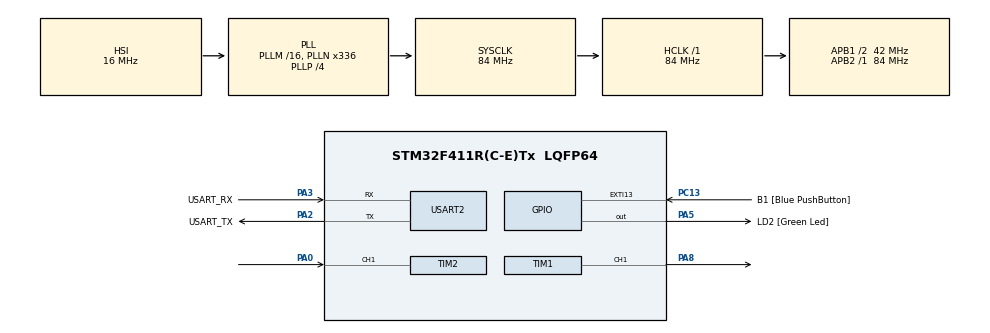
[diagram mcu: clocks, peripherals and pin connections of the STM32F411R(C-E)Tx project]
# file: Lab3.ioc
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Dma.Request0=TIM2_CH1
Dma.TIM2_CH1.0.Direction=DMA_PERIPH_TO_MEMORY
Dma.TIM2_CH1.0.FIFOMode=DMA_FIFOMODE_DISABLE
Dma.TIM2_CH1.0.Instance=DMA1_Stream5
Dma.TIM2_CH1.0.MemDataAlignment=DMA_MDATAALIGN_WORD
Dma.TIM2_CH1.0.MemInc=DMA_MINC_ENABLE
Dma.TIM2_CH1.0.Mode=DMA_CIRCULAR
Dma.TIM2_CH1.0.PeriphDataAlignment=DMA_PDATAALIGN_WORD
Dma.TIM2_CH1.0.PeriphInc=DMA_PINC_DISABLE
Dma.TIM2_CH1.0.Priority=DMA_PRIORITY_LOW
Mcu.Family=STM32F4
Mcu.Name=STM32F411R(C-E)Tx
Mcu.Package=LQFP64
NVIC.DMA1_Stream5_IRQn=true\:0\:0\:false\:false\:true\:false\:true\:true
NVIC.PriorityGroup=NVIC_PRIORITYGROUP_0
PA0-WKUP.Signal=S_TIM2_CH1_ETR
PA13.GPIO_Label=TMS
PA13.Mode=Serial_Wire
PA13.Signal=SYS_JTMS-SWDIO
PA14.GPIO_Label=TCK
PA14.Mode=Serial_Wire
PA14.Signal=SYS_JTCK-SWCLK
PA2.GPIO_Label=USART_TX
PA2.Mode=Asynchronous
PA2.Signal=USART2_TX
PA3.GPIO_Label=USART_RX
PA3.Mode=Asynchronous
PA3.Signal=USART2_RX
PA5.GPIO_Label=LD2 [Green Led]
PA5.Signal=GPIO_Output
PA8.Signal=S_TIM1_CH1
PB3.GPIO_Label=SWO
PB3.Signal=SYS_JTDO-SWO
PC13-ANTI_TAMP.GPIO_Label=B1 [Blue PushButton]
PC13-ANTI_TAMP.GPIO_ModeDefaultEXTI=GPIO_MODE_IT_FALLING
PC13-ANTI_TAMP.Signal=GPXTI13
PC14-OSC32_IN.Mode=LSE-External-Oscillator
PC14-OSC32_IN.Signal=RCC_OSC32_IN
PC15-OSC32_OUT.Mode=LSE-External-Oscillator
PC15-OSC32_OUT.Signal=RCC_OSC32_OUT
PH0\ -\ OSC_IN.Mode=HSE-External-Clock-Source
PH0\ -\ OSC_IN.Signal=RCC_OSC_IN
PH1\ -\ OSC_OUT.Mode=HSE-External-Clock-Source
PH1\ -\ OSC_OUT.Signal=RCC_OSC_OUT
ProjectManager.HeapSize=0x200
ProjectManager.StackSize=0x400
ProjectManager.TargetToolchain=STM32CubeIDE
RCC.48MHZClocksFreq_Value=84000000
RCC.AHBFreq_Value=84000000
RCC.APB1CLKDivider=RCC_HCLK_DIV2
RCC.APB1Freq_Value=42000000
RCC.APB1TimFreq_Value=84000000
RCC.APB2Freq_Value=84000000
RCC.APB2TimFreq_Value=84000000
RCC.CortexFreq_Value=84000000
RCC.FLatency-AdvancedSettings=FLASH_LATENCY_2
RCC.HCLKFreq_Value=84000000
RCC.HSE_VALUE=8000000
RCC.HSI_VALUE=16000000
RCC.PLLN=336
RCC.PLLP=RCC_PLLP_DIV4
RCC.SYSCLKFreq_VALUE=84000000
RCC.SYSCLKSource=RCC_SYSCLKSOURCE_PLLCLK
RCC.VCOOutputFreq_Value=336000000
SH.S_TIM1_CH1.0=TIM1_CH1,PWM Generation1 CH1
SH.S_TIM2_CH1_ETR.0=TIM2_CH1,Input_Capture1_from_TI1
TIM1.Channel-PWM\ Generation1\ CH1=TIM_CHANNEL_1
TIM1.Period=99
TIM1.Prescaler=830
TIM2.Channel-Input_Capture1_from_TI1=TIM_CHANNEL_1
TIM2.Prescaler=83
USART2.VirtualMode=VM_ASYNC
VP_TIM1_VS_ClockSourceINT.Mode=Internal
VP_TIM2_VS_ClockSourceINT.Mode=Internal
board=NUCLEO-F411RE

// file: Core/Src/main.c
/* USER CODE BEGIN Header */
/**
  ******************************************************************************
  * @file           : main.c
  * @brief          : Main program body
  ******************************************************************************
  * @attention
  *
  * Copyright (c) 2023 STMicroelectronics.
  * All rights reserved.
  *
  * This software is licensed under terms that can be found in the LICENSE file
  * in the root directory of this software component.
  * If no LICENSE file comes with this software, it is provided AS-IS.
  *
  ******************************************************************************
  */
/* USER CODE END Header */
#include "main.h"

/* USER CODE BEGIN Includes */
#define IC_BUFFER_SIZE 100
/* USER CODE END Includes */

TIM_HandleTypeDef htim1;
TIM_HandleTypeDef htim2;
DMA_HandleTypeDef hdma_tim2_ch1;

UART_HandleTypeDef huart2;

/* USER CODE BEGIN PV */
uint32_t InputCaptureBuffer[IC_BUFFER_SIZE] ;
float averageRisingedgePeriod ;
uint32_t MotorSetDuty = 0 ;
float MotorReadRPM = 0;
float lastrpm;
float intergal = 0;
float error ;
float Kp = 1.2 ,Ki = 1,Pout,Iout,PIout;
uint16_t MotorSetRPM = 0;
uint16_t MotorControlEnable = 0;
/* USER CODE END PV */

void SystemClock_Config(void);
static void MX_GPIO_Init(void);
static void MX_DMA_Init(void);
static void MX_USART2_UART_Init(void);
static void MX_TIM1_Init(void);
static void MX_TIM2_Init(void);
/* USER CODE BEGIN PFP */
float IC_Calc_Period() ;
/* USER CODE END PFP */

int main(void)
{

  /* MCU Configuration--------------------------------------------------------*/

  /* Reset of all peripherals, Initializes the Flash interface and the Systick. */
  HAL_Init();

  /* Configure the system clock */
  SystemClock_Config();

  /* Initialize all configured peripherals */
  MX_GPIO_Init();
  MX_DMA_Init();
  MX_USART2_UART_Init();
  MX_TIM1_Init();
  MX_TIM2_Init();
  /* USER CODE BEGIN 2 */
  HAL_TIM_Base_Start(&htim2);
  HAL_TIM_IC_Start_DMA(&htim2, TIM_CHANNEL_1, InputCaptureBuffer, IC_BUFFER_SIZE); // timer 2 use dma to store data of encoder

  HAL_TIM_Base_Start(&htim1);
  HAL_TIM_PWM_Start(&htim1, TIM_CHANNEL_1); // start pwm on timer 1 PA8
  /* USER CODE END 2 */

  /* Infinite loop */
  while (1)
  {

    /* USER CODE BEGIN 3 */
	  static uint32_t timestamp = 0;
	  	  if(HAL_GetTick() >= timestamp)
	  	  {
	  		  timestamp = HAL_GetTick()+100 ; // 10Hz <-- dt
	  		  averageRisingedgePeriod = IC_Calc_Period(); // rising to rising time
	  		  if(averageRisingedgePeriod == lastrpm)
	  		  {
	  			  MotorReadRPM = 0 ;
	  		  }
	  		  else
	  		  {
	  			  MotorReadRPM = ((1/(averageRisingedgePeriod*12.0*0.000001))*60.0)/64.0;  //find rps and multiply to min then divide by gear ratio
	  		  }
	  		  if(MotorControlEnable == 0)
	  		  {
	  			  __HAL_TIM_SET_COMPARE(&htim1,TIM_CHANNEL_1,MotorSetDuty);  //set new compare
	  		  }
	  		  else if(MotorControlEnable == 1)
	  		  {
	  			  error = MotorSetRPM - MotorReadRPM ; // rpm max < 46
	  			  intergal += error * 0.1 ; // intergal = error * dt
	  			  Pout = Kp * error ;     // Kp output
	  			  Iout = Ki * intergal ; // Ki output
	  			  if (MotorSetRPM == 0){
	  				  PIout = 0 ;
	  			  }
	  			  else
	  			  {
	  				PIout = Pout + Iout ; // duty from pid
	  			  }
	  			  __HAL_TIM_SET_COMPARE(&htim1,TIM_CHANNEL_1,PIout);  //set new compare min 10 rpm
	  		  }
	  		  lastrpm = averageRisingedgePeriod ;
	  	  }
  }
  /* USER CODE END 3 */
}

void SystemClock_Config(void)
{
  RCC_OscInitTypeDef RCC_OscInitStruct = {0};
  RCC_ClkInitTypeDef RCC_ClkInitStruct = {0};

  /** Configure the main internal regulator output voltage
  */
  __HAL_RCC_PWR_CLK_ENABLE();
  __HAL_PWR_VOLTAGESCALING_CONFIG(PWR_REGULATOR_VOLTAGE_SCALE1);

  /** Initializes the RCC Oscillators according to the specified parameters
  * in the RCC_OscInitTypeDef structure.
  */
  RCC_OscInitStruct.OscillatorType = RCC_OSCILLATORTYPE_HSI;
  RCC_OscInitStruct.HSIState = RCC_HSI_ON;
  RCC_OscInitStruct.HSICalibrationValue = RCC_HSICALIBRATION_DEFAULT;
  RCC_OscInitStruct.PLL.PLLState = RCC_PLL_ON;
  RCC_OscInitStruct.PLL.PLLSource = RCC_PLLSOURCE_HSI;
  RCC_OscInitStruct.PLL.PLLM = 16;
  RCC_OscInitStruct.PLL.PLLN = 336;
  RCC_OscInitStruct.PLL.PLLP = RCC_PLLP_DIV4;
  RCC_OscInitStruct.PLL.PLLQ = 4;
  if (HAL_RCC_OscConfig(&RCC_OscInitStruct) != HAL_OK)
  {
    Error_Handler();
  }

  /** Initializes the CPU, AHB and APB buses clocks
  */
  RCC_ClkInitStruct.ClockType = RCC_CLOCKTYPE_HCLK|RCC_CLOCKTYPE_SYSCLK
                              |RCC_CLOCKTYPE_PCLK1|RCC_CLOCKTYPE_PCLK2;
  RCC_ClkInitStruct.SYSCLKSource = RCC_SYSCLKSOURCE_PLLCLK;
  RCC_ClkInitStruct.AHBCLKDivider = RCC_SYSCLK_DIV1;
  RCC_ClkInitStruct.APB1CLKDivider = RCC_HCLK_DIV2;
  RCC_ClkInitStruct.APB2CLKDivider = RCC_HCLK_DIV1;

  if (HAL_RCC_ClockConfig(&RCC_ClkInitStruct, FLASH_LATENCY_2) != HAL_OK)
  {
    Error_Handler();
  }
}

static void MX_TIM1_Init(void)
{

  TIM_ClockConfigTypeDef sClockSourceConfig = {0};
  TIM_MasterConfigTypeDef sMasterConfig = {0};
  TIM_OC_InitTypeDef sConfigOC = {0};
  TIM_BreakDeadTimeConfigTypeDef sBreakDeadTimeConfig = {0};

  htim1.Instance = TIM1;
  htim1.Init.Prescaler = 830;
  htim1.Init.CounterMode = TIM_COUNTERMODE_UP;
  htim1.Init.Period = 99;
  htim1.Init.ClockDivision = TIM_CLOCKDIVISION_DIV1;
  htim1.Init.RepetitionCounter = 0;
  htim1.Init.AutoReloadPreload = TIM_AUTORELOAD_PRELOAD_DISABLE;
  if (HAL_TIM_Base_Init(&htim1) != HAL_OK)
  {
    Error_Handler();
  }
  sClockSourceConfig.ClockSource = TIM_CLOCKSOURCE_INTERNAL;
  if (HAL_TIM_ConfigClockSource(&htim1, &sClockSourceConfig) != HAL_OK)
  {
    Error_Handler();
  }
  if (HAL_TIM_PWM_Init(&htim1) != HAL_OK)
  {
    Error_Handler();
  }
  sMasterConfig.MasterOutputTrigger = TIM_TRGO_RESET;
  sMasterConfig.MasterSlaveMode = TIM_MASTERSLAVEMODE_DISABLE;
  if (HAL_TIMEx_MasterConfigSynchronization(&htim1, &sMasterConfig) != HAL_OK)
  {
    Error_Handler();
  }
  sConfigOC.OCMode = TIM_OCMODE_PWM1;
  sConfigOC.Pulse = 0;
  sConfigOC.OCPolarity = TIM_OCPOLARITY_HIGH;
  sConfigOC.OCNPolarity = TIM_OCNPOLARITY_HIGH;
  sConfigOC.OCFastMode = TIM_OCFAST_DISABLE;
  sConfigOC.OCIdleState = TIM_OCIDLESTATE_RESET;
  sConfigOC.OCNIdleState = TIM_OCNIDLESTATE_RESET;
  if (HAL_TIM_PWM_ConfigChannel(&htim1, &sConfigOC, TIM_CHANNEL_1) != HAL_OK)
  {
    Error_Handler();
  }
  sBreakDeadTimeConfig.OffStateRunMode = TIM_OSSR_DISABLE;
  sBreakDeadTimeConfig.OffStateIDLEMode = TIM_OSSI_DISABLE;
  sBreakDeadTimeConfig.LockLevel = TIM_LOCKLEVEL_OFF;
  sBreakDeadTimeConfig.DeadTime = 0;
  sBreakDeadTimeConfig.BreakState = TIM_BREAK_DISABLE;
  sBreakDeadTimeConfig.BreakPolarity = TIM_BREAKPOLARITY_HIGH;
  sBreakDeadTimeConfig.AutomaticOutput = TIM_AUTOMATICOUTPUT_DISABLE;
  if (HAL_TIMEx_ConfigBreakDeadTime(&htim1, &sBreakDeadTimeConfig) != HAL_OK)
  {
    Error_Handler();
  }
  HAL_TIM_MspPostInit(&htim1);

}

static void MX_TIM2_Init(void)
{

  TIM_ClockConfigTypeDef sClockSourceConfig = {0};
  TIM_MasterConfigTypeDef sMasterConfig = {0};
  TIM_IC_InitTypeDef sConfigIC = {0};

  htim2.Instance = TIM2;
  htim2.Init.Prescaler = 83;
  htim2.Init.CounterMode = TIM_COUNTERMODE_UP;
  htim2.Init.Period = 4294967295;
  htim2.Init.ClockDivision = TIM_CLOCKDIVISION_DIV1;
  htim2.Init.AutoReloadPreload = TIM_AUTORELOAD_PRELOAD_DISABLE;
  if (HAL_TIM_Base_Init(&htim2) != HAL_OK)
  {
    Error_Handler();
  }
  sClockSourceConfig.ClockSource = TIM_CLOCKSOURCE_INTERNAL;
  if (HAL_TIM_ConfigClockSource(&htim2, &sClockSourceConfig) != HAL_OK)
  {
    Error_Handler();
  }
  if (HAL_TIM_IC_Init(&htim2) != HAL_OK)
  {
    Error_Handler();
  }
  sMasterConfig.MasterOutputTrigger = TIM_TRGO_RESET;
  sMasterConfig.MasterSlaveMode = TIM_MASTERSLAVEMODE_DISABLE;
  if (HAL_TIMEx_MasterConfigSynchronization(&htim2, &sMasterConfig) != HAL_OK)
  {
    Error_Handler();
  }
  sConfigIC.ICPolarity = TIM_INPUTCHANNELPOLARITY_RISING;
  sConfigIC.ICSelection = TIM_ICSELECTION_DIRECTTI;
  sConfigIC.ICPrescaler = TIM_ICPSC_DIV1;
  sConfigIC.ICFilter = 0;
  if (HAL_TIM_IC_ConfigChannel(&htim2, &sConfigIC, TIM_CHANNEL_1) != HAL_OK)
  {
    Error_Handler();
  }

}

static void MX_USART2_UART_Init(void)
{

  huart2.Instance = USART2;
  huart2.Init.BaudRate = 115200;
  huart2.Init.WordLength = UART_WORDLENGTH_8B;
  huart2.Init.StopBits = UART_STOPBITS_1;
  huart2.Init.Parity = UART_PARITY_NONE;
  huart2.Init.Mode = UART_MODE_TX_RX;
  huart2.Init.HwFlowCtl = UART_HWCONTROL_NONE;
  huart2.Init.OverSampling = UART_OVERSAMPLING_16;
  if (HAL_UART_Init(&huart2) != HAL_OK)
  {
    Error_Handler();
  }

}

static void MX_DMA_Init(void)
{

  /* DMA controller clock enable */
  __HAL_RCC_DMA1_CLK_ENABLE();

  /* DMA interrupt init */
  /* DMA1_Stream5_IRQn interrupt configuration */
  HAL_NVIC_SetPriority(DMA1_Stream5_IRQn, 0, 0);
  HAL_NVIC_EnableIRQ(DMA1_Stream5_IRQn);

}

static void MX_GPIO_Init(void)
{
  GPIO_InitTypeDef GPIO_InitStruct = {0};

  /* GPIO Ports Clock Enable */
  __HAL_RCC_GPIOC_CLK_ENABLE();
  __HAL_RCC_GPIOH_CLK_ENABLE();
  __HAL_RCC_GPIOA_CLK_ENABLE();
  __HAL_RCC_GPIOB_CLK_ENABLE();

  /*Configure GPIO pin Output Level */
  HAL_GPIO_WritePin(LD2_GPIO_Port, LD2_Pin, GPIO_PIN_RESET);

  /*Configure GPIO pin : B1_Pin */
  GPIO_InitStruct.Pin = B1_Pin;
  GPIO_InitStruct.Mode = GPIO_MODE_IT_FALLING;
  GPIO_InitStruct.Pull = GPIO_NOPULL;
  HAL_GPIO_Init(B1_GPIO_Port, &GPIO_InitStruct);

  /*Configure GPIO pin : LD2_Pin */
  GPIO_InitStruct.Pin = LD2_Pin;
  GPIO_InitStruct.Mode = GPIO_MODE_OUTPUT_PP;
  GPIO_InitStruct.Pull = GPIO_NOPULL;
  GPIO_InitStruct.Speed = GPIO_SPEED_FREQ_LOW;
  HAL_GPIO_Init(LD2_GPIO_Port, &GPIO_InitStruct);

}

/* USER CODE BEGIN 4 */
float IC_Calc_Period(){
	uint32_t currentDMAPointer = IC_BUFFER_SIZE - __HAL_DMA_GET_COUNTER((htim2.hdma[1]));
	uint32_t lastValidDMAPointer = (currentDMAPointer-1 + IC_BUFFER_SIZE) % IC_BUFFER_SIZE ;
	uint32_t i = (lastValidDMAPointer + IC_BUFFER_SIZE - 10) % IC_BUFFER_SIZE ;

	int32_t sumdiff = 0;
	while(i != lastValidDMAPointer){
		uint32_t firstCapture = InputCaptureBuffer[i];
		uint32_t NextCapture = InputCaptureBuffer[(i+1)%IC_BUFFER_SIZE];
		sumdiff += NextCapture - firstCapture;
		i = (i+1) % IC_BUFFER_SIZE ;
	}
	return sumdiff/10.0 ;
}
/* USER CODE END 4 */

void Error_Handler(void)
{
  __disable_irq();
  while (1)
  {
  }
}
